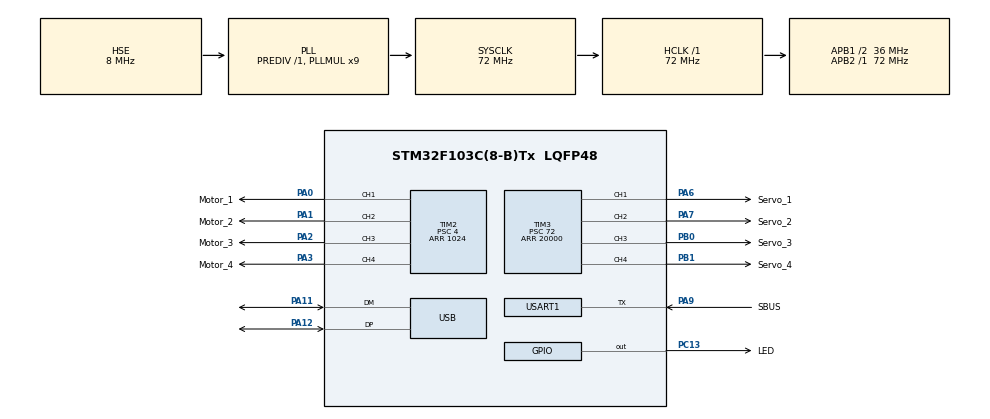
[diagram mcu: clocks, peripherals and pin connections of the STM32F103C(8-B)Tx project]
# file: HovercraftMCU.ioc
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Mcu.Family=STM32F1
Mcu.Name=STM32F103C(8-B)Tx
Mcu.Package=LQFP48
NVIC.PriorityGroup=NVIC_PRIORITYGROUP_4
NVIC.USART1_IRQn=true\:0\:0\:false\:false\:true\:true\:true
NVIC.USB_LP_CAN1_RX0_IRQn=true\:0\:0\:false\:false\:true\:false\:true
PA0-WKUP.GPIO_Label=Motor_1
PA0-WKUP.Signal=S_TIM2_CH1_ETR
PA1.GPIO_Label=Motor_2
PA1.Signal=S_TIM2_CH2
PA11.Mode=Device
PA11.Signal=USB_DM
PA12.Mode=Device
PA12.Signal=USB_DP
PA13.Mode=Serial_Wire
PA13.Signal=SYS_JTMS-SWDIO
PA14.Mode=Serial_Wire
PA14.Signal=SYS_JTCK-SWCLK
PA2.GPIO_Label=Motor_3
PA2.Signal=S_TIM2_CH3
PA3.GPIO_Label=Motor_4
PA3.Signal=S_TIM2_CH4
PA6.GPIO_Label=Servo_1
PA6.Signal=S_TIM3_CH1
PA7.GPIO_Label=Servo_2
PA7.Signal=S_TIM3_CH2
PA9.GPIO_Label=SBUS
PA9.Mode=Half_duplex(single_wire_mode)
PA9.Signal=USART1_TX
PB0.GPIO_Label=Servo_3
PB0.Signal=S_TIM3_CH3
PB1.GPIO_Label=Servo_4
PB1.Signal=S_TIM3_CH4
PC13-TAMPER-RTC.GPIO_Label=LED
PC13-TAMPER-RTC.Signal=GPIO_Output
PC14-OSC32_IN.Mode=LSE-External-Oscillator
PC14-OSC32_IN.Signal=RCC_OSC32_IN
PC15-OSC32_OUT.Mode=LSE-External-Oscillator
PC15-OSC32_OUT.Signal=RCC_OSC32_OUT
PD0-OSC_IN.Mode=HSE-External-Oscillator
PD0-OSC_IN.Signal=RCC_OSC_IN
PD1-OSC_OUT.Mode=HSE-External-Oscillator
PD1-OSC_OUT.Signal=RCC_OSC_OUT
ProjectManager.HeapSize=0x200
ProjectManager.StackSize=0x400
ProjectManager.TargetToolchain=SW4STM32
RCC.AHBFreq_Value=72000000
RCC.APB1CLKDivider=RCC_HCLK_DIV2
RCC.APB1Freq_Value=36000000
RCC.APB1TimFreq_Value=72000000
RCC.APB2Freq_Value=72000000
RCC.APB2TimFreq_Value=72000000
RCC.HCLKFreq_Value=72000000
RCC.PLLMUL=RCC_PLL_MUL9
RCC.RCC_MCOSource=RCC_MCO1SOURCE_HSE
RCC.SYSCLKFreq_VALUE=72000000
RCC.SYSCLKSource=RCC_SYSCLKSOURCE_PLLCLK
RCC.USBFreq_Value=48000000
RCC.USBPrescaler=RCC_USBCLKSOURCE_PLL_DIV1_5
SH.S_TIM2_CH1_ETR.0=TIM2_CH1,PWM Generation1 CH1
SH.S_TIM2_CH2.0=TIM2_CH2,PWM Generation2 CH2
SH.S_TIM2_CH3.0=TIM2_CH3,PWM Generation3 CH3
SH.S_TIM2_CH4.0=TIM2_CH4,PWM Generation4 CH4
SH.S_TIM3_CH1.0=TIM3_CH1,PWM Generation1 CH1
SH.S_TIM3_CH2.0=TIM3_CH2,PWM Generation2 CH2
SH.S_TIM3_CH3.0=TIM3_CH3,PWM Generation3 CH3
SH.S_TIM3_CH4.0=TIM3_CH4,PWM Generation4 CH4
TIM2.AutoReloadPreload=TIM_AUTORELOAD_PRELOAD_ENABLE
TIM2.Channel-PWM\ Generation1\ CH1=TIM_CHANNEL_1
TIM2.Channel-PWM\ Generation2\ CH2=TIM_CHANNEL_2
TIM2.Channel-PWM\ Generation3\ CH3=TIM_CHANNEL_3
TIM2.Channel-PWM\ Generation4\ CH4=TIM_CHANNEL_4
TIM2.Period=1024
TIM2.Prescaler=4
TIM3.AutoReloadPreload=TIM_AUTORELOAD_PRELOAD_ENABLE
TIM3.Channel-PWM\ Generation1\ CH1=TIM_CHANNEL_1
TIM3.Channel-PWM\ Generation2\ CH2=TIM_CHANNEL_2
TIM3.Channel-PWM\ Generation3\ CH3=TIM_CHANNEL_3
TIM3.Channel-PWM\ Generation4\ CH4=TIM_CHANNEL_4
TIM3.ClockDivision=TIM_CLOCKDIVISION_DIV1
TIM3.Period=20000
TIM3.Prescaler=72
USART1.BaudRate=100000
USART1.Mode=MODE_RX
USART1.Parity=PARITY_EVEN
USART1.StopBits=STOPBITS_2
USART1.VirtualMode=VM_ASYNC
USART1.WordLength=WORDLENGTH_9B
USB_DEVICE.CLASS_NAME_FS=CDC
USB_DEVICE.VirtualMode=Cdc
USB_DEVICE.VirtualModeFS=Cdc_FS
VP_TIM2_VS_ClockSourceINT.Mode=Internal
VP_TIM3_VS_ClockSourceINT.Mode=Internal
VP_USB_DEVICE_VS_USB_DEVICE_CDC_FS.Mode=CDC_FS
board=custom

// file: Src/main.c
/* USER CODE BEGIN Header */
/**
  ******************************************************************************
  * @file           : main.c
  * @brief          : Main program body
  ******************************************************************************
  * @attention
  *
  * <h2><center>&copy; Copyright (c) 2019 STMicroelectronics.
  * All rights reserved.</center></h2>
  *
  * This software component is licensed by ST under Ultimate Liberty license
  * SLA0044, the "License"; You may not use this file except in compliance with
  * the License. You may obtain a copy of the License at:
  *                             www.st.com/SLA0044
  *
  ******************************************************************************
  */
/* USER CODE END Header */

#include "main.h"
#include "usb_device.h"

/* USER CODE BEGIN Includes */
#include <stdint.h>

#include "usbd_cdc_if.h"

#include <sbus.h>
#include <servo.h>
/* USER CODE END Includes */

TIM_HandleTypeDef htim2;
TIM_HandleTypeDef htim3;

UART_HandleTypeDef huart1;

/* USER CODE BEGIN PV */
uint8_t gSBUSByte;
struct sbusframe_user gSBUSFrame;
uint32_t Err;
/* USER CODE END PV */

void SystemClock_Config(void);
static void MX_GPIO_Init(void);
static void MX_TIM3_Init(void);
static void MX_USART1_UART_Init(void);
static void MX_TIM2_Init(void);

/* USER CODE BEGIN 0 */

#define CHANNEL_MIN	172
#define CHANNEL_MAX

void HAL_UART_RxCpltCallback(UART_HandleTypeDef *huart)
{
	if (huart == &huart1)
	{
		// Add received byte to sbus FIFO
		SBUS_AddByte(gSBUSByte);

		// Available sbus frame ?
		if (SBUS_GetFrame(&gSBUSFrame) == 0)
		{
			// Set Servo positon
			int16_t ServoPosition = SBUS_NormalizeChannel(gSBUSFrame.Channels[1], -1000, 1000);
			SERVO_SetPosition(&htim3, TIM_CHANNEL_1, ServoPosition);

			// Debug
//			char Str[64];
//			sprintf(Str, "%d %d %d %d %d\r\n",
//					gSBUSFrame.Channels[0],
//					gSBUSFrame.Channels[1],
//					gSBUSFrame.Channels[2],
//					gSBUSFrame.Channels[3],
//					gSBUSFrame.Channels[4]);
//			CDC_Transmit_FS((uint8_t *)Str, strlen(Str));
		}

		// Restart IT
		HAL_UART_Receive_IT(huart, &gSBUSByte, 1);
	}

}

/* USER CODE END 0 */

int main(void)
{

  /* MCU Configuration--------------------------------------------------------*/

  /* Reset of all peripherals, Initializes the Flash interface and the Systick. */
  HAL_Init();

  /* Configure the system clock */
  SystemClock_Config();

  /* Initialize all configured peripherals */
  MX_GPIO_Init();
  MX_TIM3_Init();
  MX_USART1_UART_Init();
  MX_USB_DEVICE_Init();
  MX_TIM2_Init();
  /* USER CODE BEGIN 2 */
  SBUS_Init();
  SERVO_Init(&htim3, TIM_CHANNEL_1);
  // Start SBUS ISR
  HAL_UART_Receive_IT(&huart1, &gSBUSByte, 1);

  /* USER CODE END 2 */

  /* Infinite loop */
  while (1)
  {

    /* USER CODE BEGIN 3 */
	  // Blink LED
	  HAL_GPIO_TogglePin(LED_GPIO_Port, LED_Pin);
	  HAL_Delay(500);

  }
  /* USER CODE END 3 */
}

void SystemClock_Config(void)
{
  RCC_OscInitTypeDef RCC_OscInitStruct = {0};
  RCC_ClkInitTypeDef RCC_ClkInitStruct = {0};
  RCC_PeriphCLKInitTypeDef PeriphClkInit = {0};

  /** Initializes the CPU, AHB and APB busses clocks
  */
  RCC_OscInitStruct.OscillatorType = RCC_OSCILLATORTYPE_HSE;
  RCC_OscInitStruct.HSEState = RCC_HSE_ON;
  RCC_OscInitStruct.HSEPredivValue = RCC_HSE_PREDIV_DIV1;
  RCC_OscInitStruct.HSIState = RCC_HSI_ON;
  RCC_OscInitStruct.PLL.PLLState = RCC_PLL_ON;
  RCC_OscInitStruct.PLL.PLLSource = RCC_PLLSOURCE_HSE;
  RCC_OscInitStruct.PLL.PLLMUL = RCC_PLL_MUL9;
  if (HAL_RCC_OscConfig(&RCC_OscInitStruct) != HAL_OK)
  {
    Error_Handler();
  }
  /** Initializes the CPU, AHB and APB busses clocks
  */
  RCC_ClkInitStruct.ClockType = RCC_CLOCKTYPE_HCLK|RCC_CLOCKTYPE_SYSCLK
                              |RCC_CLOCKTYPE_PCLK1|RCC_CLOCKTYPE_PCLK2;
  RCC_ClkInitStruct.SYSCLKSource = RCC_SYSCLKSOURCE_PLLCLK;
  RCC_ClkInitStruct.AHBCLKDivider = RCC_SYSCLK_DIV1;
  RCC_ClkInitStruct.APB1CLKDivider = RCC_HCLK_DIV2;
  RCC_ClkInitStruct.APB2CLKDivider = RCC_HCLK_DIV1;

  if (HAL_RCC_ClockConfig(&RCC_ClkInitStruct, FLASH_LATENCY_2) != HAL_OK)
  {
    Error_Handler();
  }
  PeriphClkInit.PeriphClockSelection = RCC_PERIPHCLK_USB;
  PeriphClkInit.UsbClockSelection = RCC_USBCLKSOURCE_PLL_DIV1_5;
  if (HAL_RCCEx_PeriphCLKConfig(&PeriphClkInit) != HAL_OK)
  {
    Error_Handler();
  }
}

static void MX_TIM2_Init(void)
{

  TIM_ClockConfigTypeDef sClockSourceConfig = {0};
  TIM_MasterConfigTypeDef sMasterConfig = {0};
  TIM_OC_InitTypeDef sConfigOC = {0};

  htim2.Instance = TIM2;
  htim2.Init.Prescaler = 4;
  htim2.Init.CounterMode = TIM_COUNTERMODE_UP;
  htim2.Init.Period = 1024;
  htim2.Init.ClockDivision = TIM_CLOCKDIVISION_DIV1;
  htim2.Init.AutoReloadPreload = TIM_AUTORELOAD_PRELOAD_ENABLE;
  if (HAL_TIM_Base_Init(&htim2) != HAL_OK)
  {
    Error_Handler();
  }
  sClockSourceConfig.ClockSource = TIM_CLOCKSOURCE_INTERNAL;
  if (HAL_TIM_ConfigClockSource(&htim2, &sClockSourceConfig) != HAL_OK)
  {
    Error_Handler();
  }
  if (HAL_TIM_PWM_Init(&htim2) != HAL_OK)
  {
    Error_Handler();
  }
  sMasterConfig.MasterOutputTrigger = TIM_TRGO_RESET;
  sMasterConfig.MasterSlaveMode = TIM_MASTERSLAVEMODE_DISABLE;
  if (HAL_TIMEx_MasterConfigSynchronization(&htim2, &sMasterConfig) != HAL_OK)
  {
    Error_Handler();
  }
  sConfigOC.OCMode = TIM_OCMODE_PWM1;
  sConfigOC.Pulse = 0;
  sConfigOC.OCPolarity = TIM_OCPOLARITY_HIGH;
  sConfigOC.OCFastMode = TIM_OCFAST_DISABLE;
  if (HAL_TIM_PWM_ConfigChannel(&htim2, &sConfigOC, TIM_CHANNEL_1) != HAL_OK)
  {
    Error_Handler();
  }
  if (HAL_TIM_PWM_ConfigChannel(&htim2, &sConfigOC, TIM_CHANNEL_2) != HAL_OK)
  {
    Error_Handler();
  }
  if (HAL_TIM_PWM_ConfigChannel(&htim2, &sConfigOC, TIM_CHANNEL_3) != HAL_OK)
  {
    Error_Handler();
  }
  if (HAL_TIM_PWM_ConfigChannel(&htim2, &sConfigOC, TIM_CHANNEL_4) != HAL_OK)
  {
    Error_Handler();
  }
  HAL_TIM_MspPostInit(&htim2);

}

static void MX_TIM3_Init(void)
{

  TIM_ClockConfigTypeDef sClockSourceConfig = {0};
  TIM_MasterConfigTypeDef sMasterConfig = {0};
  TIM_OC_InitTypeDef sConfigOC = {0};

  htim3.Instance = TIM3;
  htim3.Init.Prescaler = 72;
  htim3.Init.CounterMode = TIM_COUNTERMODE_UP;
  htim3.Init.Period = 20000;
  htim3.Init.ClockDivision = TIM_CLOCKDIVISION_DIV1;
  htim3.Init.AutoReloadPreload = TIM_AUTORELOAD_PRELOAD_ENABLE;
  if (HAL_TIM_Base_Init(&htim3) != HAL_OK)
  {
    Error_Handler();
  }
  sClockSourceConfig.ClockSource = TIM_CLOCKSOURCE_INTERNAL;
  if (HAL_TIM_ConfigClockSource(&htim3, &sClockSourceConfig) != HAL_OK)
  {
    Error_Handler();
  }
  if (HAL_TIM_PWM_Init(&htim3) != HAL_OK)
  {
    Error_Handler();
  }
  sMasterConfig.MasterOutputTrigger = TIM_TRGO_RESET;
  sMasterConfig.MasterSlaveMode = TIM_MASTERSLAVEMODE_DISABLE;
  if (HAL_TIMEx_MasterConfigSynchronization(&htim3, &sMasterConfig) != HAL_OK)
  {
    Error_Handler();
  }
  sConfigOC.OCMode = TIM_OCMODE_PWM1;
  sConfigOC.Pulse = 0;
  sConfigOC.OCPolarity = TIM_OCPOLARITY_HIGH;
  sConfigOC.OCFastMode = TIM_OCFAST_DISABLE;
  if (HAL_TIM_PWM_ConfigChannel(&htim3, &sConfigOC, TIM_CHANNEL_1) != HAL_OK)
  {
    Error_Handler();
  }
  if (HAL_TIM_PWM_ConfigChannel(&htim3, &sConfigOC, TIM_CHANNEL_2) != HAL_OK)
  {
    Error_Handler();
  }
  if (HAL_TIM_PWM_ConfigChannel(&htim3, &sConfigOC, TIM_CHANNEL_3) != HAL_OK)
  {
    Error_Handler();
  }
  if (HAL_TIM_PWM_ConfigChannel(&htim3, &sConfigOC, TIM_CHANNEL_4) != HAL_OK)
  {
    Error_Handler();
  }
  HAL_TIM_MspPostInit(&htim3);

}

static void MX_USART1_UART_Init(void)
{

  huart1.Instance = USART1;
  huart1.Init.BaudRate = 100000;
  huart1.Init.WordLength = UART_WORDLENGTH_9B;
  huart1.Init.StopBits = UART_STOPBITS_2;
  huart1.Init.Parity = UART_PARITY_EVEN;
  huart1.Init.Mode = UART_MODE_RX;
  huart1.Init.HwFlowCtl = UART_HWCONTROL_NONE;
  huart1.Init.OverSampling = UART_OVERSAMPLING_16;
  if (HAL_HalfDuplex_Init(&huart1) != HAL_OK)
  {
    Error_Handler();
  }

}

static void MX_GPIO_Init(void)
{
  GPIO_InitTypeDef GPIO_InitStruct = {0};

  /* GPIO Ports Clock Enable */
  __HAL_RCC_GPIOC_CLK_ENABLE();
  __HAL_RCC_GPIOD_CLK_ENABLE();
  __HAL_RCC_GPIOA_CLK_ENABLE();
  __HAL_RCC_GPIOB_CLK_ENABLE();

  /*Configure GPIO pin Output Level */
  HAL_GPIO_WritePin(LED_GPIO_Port, LED_Pin, GPIO_PIN_RESET);

  /*Configure GPIO pin : LED_Pin */
  GPIO_InitStruct.Pin = LED_Pin;
  GPIO_InitStruct.Mode = GPIO_MODE_OUTPUT_PP;
  GPIO_InitStruct.Pull = GPIO_NOPULL;
  GPIO_InitStruct.Speed = GPIO_SPEED_FREQ_LOW;
  HAL_GPIO_Init(LED_GPIO_Port, &GPIO_InitStruct);

}

void Error_Handler(void)
{
}

/************************ (C) COPYRIGHT STMicroelectronics *****END OF FILE****/
